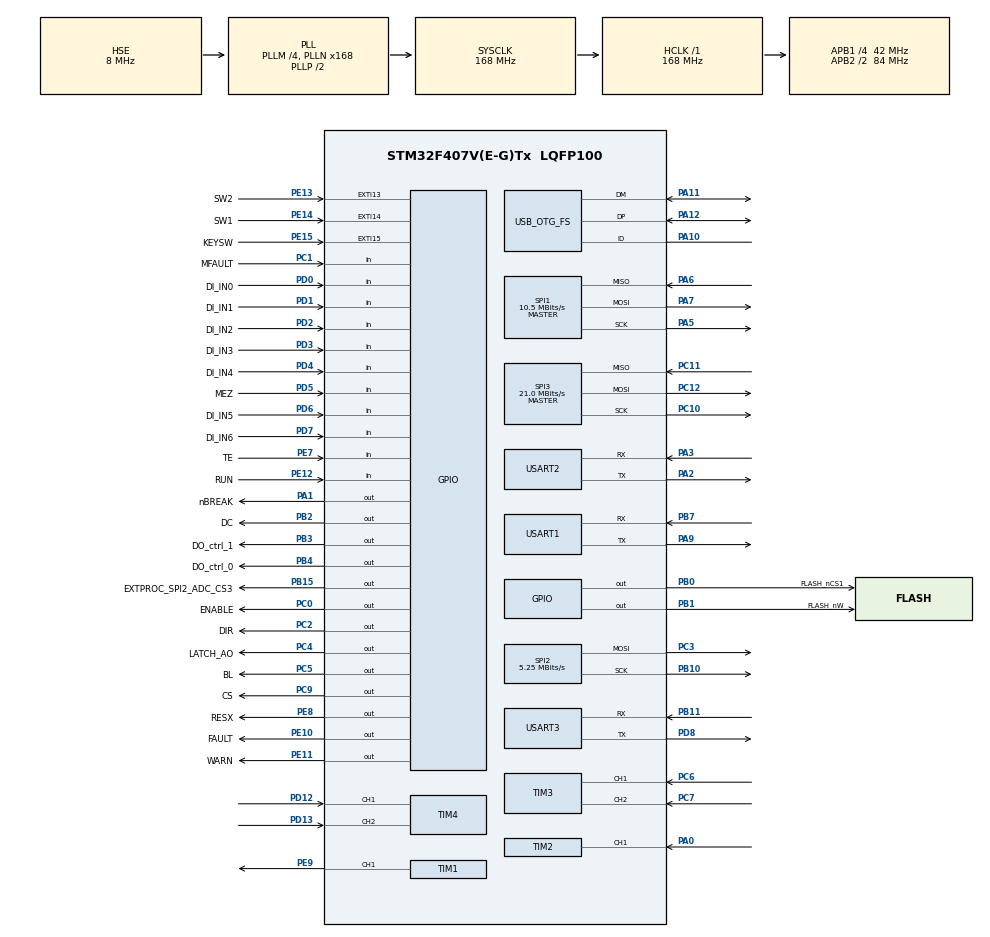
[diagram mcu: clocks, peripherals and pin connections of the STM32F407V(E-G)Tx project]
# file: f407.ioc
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Dma.Request0=SPI1_RX
Dma.Request1=USART1_RX
Dma.SPI1_RX.0.Direction=DMA_PERIPH_TO_MEMORY
Dma.SPI1_RX.0.FIFOMode=DMA_FIFOMODE_DISABLE
Dma.SPI1_RX.0.Instance=DMA2_Stream0
Dma.SPI1_RX.0.MemDataAlignment=DMA_MDATAALIGN_BYTE
Dma.SPI1_RX.0.MemInc=DMA_MINC_ENABLE
Dma.SPI1_RX.0.Mode=DMA_NORMAL
Dma.SPI1_RX.0.PeriphDataAlignment=DMA_PDATAALIGN_BYTE
Dma.SPI1_RX.0.PeriphInc=DMA_PINC_DISABLE
Dma.SPI1_RX.0.Priority=DMA_PRIORITY_LOW
Dma.USART1_RX.1.Direction=DMA_PERIPH_TO_MEMORY
Dma.USART1_RX.1.FIFOMode=DMA_FIFOMODE_DISABLE
Dma.USART1_RX.1.Instance=DMA2_Stream2
Dma.USART1_RX.1.MemDataAlignment=DMA_MDATAALIGN_BYTE
Dma.USART1_RX.1.MemInc=DMA_MINC_ENABLE
Dma.USART1_RX.1.Mode=DMA_NORMAL
Dma.USART1_RX.1.PeriphDataAlignment=DMA_PDATAALIGN_BYTE
Dma.USART1_RX.1.PeriphInc=DMA_PINC_DISABLE
Dma.USART1_RX.1.Priority=DMA_PRIORITY_LOW
Mcu.Family=STM32F4
Mcu.Name=STM32F407V(E-G)Tx
Mcu.Package=LQFP100
NVIC.DMA2_Stream0_IRQn=true\:0\:0\:false\:false\:true\:false\:true\:true
NVIC.DMA2_Stream2_IRQn=true\:0\:0\:false\:false\:true\:false\:true\:true
NVIC.EXTI15_10_IRQn=true\:0\:0\:false\:false\:true\:true\:true\:true
NVIC.PriorityGroup=NVIC_PRIORITYGROUP_4
NVIC.TIM3_IRQn=true\:0\:0\:false\:false\:true\:true\:true\:true
NVIC.TIM4_IRQn=true\:0\:0\:false\:false\:true\:true\:true\:true
NVIC.USART1_IRQn=true\:0\:0\:false\:false\:true\:true\:true\:true
PA0-WKUP.Signal=S_TIM2_CH1_ETR
PA1.GPIO_Label=nBREAK
PA1.Signal=GPIO_Output
PA10.Mode=OTG/Dual_Role_Device
PA10.Signal=USB_OTG_FS_ID
PA11.Mode=OTG/Dual_Role_Device
PA11.Signal=USB_OTG_FS_DM
PA12.Mode=OTG/Dual_Role_Device
PA12.Signal=USB_OTG_FS_DP
PA13.Mode=Serial_Wire
PA13.Signal=SYS_JTMS-SWDIO
PA14.Mode=Serial_Wire
PA14.Signal=SYS_JTCK-SWCLK
PA2.Mode=Asynchronous
PA2.Signal=USART2_TX
PA3.Mode=Asynchronous
PA3.Signal=USART2_RX
PA5.Mode=Full_Duplex_Master
PA5.Signal=SPI1_SCK
PA6.Mode=Full_Duplex_Master
PA6.Signal=SPI1_MISO
PA7.Mode=Full_Duplex_Master
PA7.Signal=SPI1_MOSI
PA9.Mode=Asynchronous
PA9.Signal=USART1_TX
PB0.GPIO_Label=FLASH_nCS1
PB0.PinState=GPIO_PIN_SET
PB0.Signal=GPIO_Output
PB1.GPIO_Label=FLASH_nW
PB1.PinState=GPIO_PIN_SET
PB1.Signal=GPIO_Output
PB10.Mode=TX_Only_Simplex_Unidirect_Master
PB10.Signal=SPI2_SCK
PB11.Mode=Asynchronous
PB11.Signal=USART3_RX
PB15.GPIO_Label=EXTPROC_SPI2_ADC_CS3
PB15.PinState=GPIO_PIN_SET
PB15.Signal=GPIO_Output
PB2.GPIO_Label=DC
PB2.Signal=GPIO_Output
PB3.GPIO_Label=DO_ctrl_1
PB3.PinState=GPIO_PIN_SET
PB3.Signal=GPIO_Output
PB4.GPIO_Label=DO_ctrl_0
PB4.PinState=GPIO_PIN_SET
PB4.Signal=GPIO_Output
PB7.Mode=Asynchronous
PB7.Signal=USART1_RX
PC0.GPIO_Label=ENABLE
PC0.Signal=GPIO_Output
PC1.GPIO_Label=MFAULT
PC1.Signal=GPIO_Input
PC10.Mode=Full_Duplex_Master
PC10.Signal=SPI3_SCK
PC11.Mode=Full_Duplex_Master
PC11.Signal=SPI3_MISO
PC12.Mode=Full_Duplex_Master
PC12.Signal=SPI3_MOSI
PC14-OSC32_IN.Mode=LSE-External-Oscillator
PC14-OSC32_IN.Signal=RCC_OSC32_IN
PC15-OSC32_OUT.Mode=LSE-External-Oscillator
PC15-OSC32_OUT.Signal=RCC_OSC32_OUT
PC2.GPIO_Label=DIR
PC2.Signal=GPIO_Output
PC3.Mode=TX_Only_Simplex_Unidirect_Master
PC3.Signal=SPI2_MOSI
PC4.GPIO_Label=LATCH_AO
PC4.Signal=GPIO_Output
PC5.GPIO_Label=BL
PC5.Signal=GPIO_Output
PC6.Signal=S_TIM3_CH1
PC7.Signal=S_TIM3_CH2
PC9.GPIO_Label=CS
PC9.GPIO_Speed=GPIO_SPEED_FREQ_HIGH
PC9.PinState=GPIO_PIN_SET
PC9.Signal=GPIO_Output
PD0.GPIO_Label=DI_IN0
PD0.Signal=GPIO_Input
PD1.GPIO_Label=DI_IN1
PD1.Signal=GPIO_Input
PD12.Signal=S_TIM4_CH1
PD13.Signal=S_TIM4_CH2
PD2.GPIO_Label=DI_IN2
PD2.Signal=GPIO_Input
PD3.GPIO_Label=DI_IN3
PD3.Signal=GPIO_Input
PD4.GPIO_Label=DI_IN4
PD4.Signal=GPIO_Input
PD5.GPIO_Label=MEZ
PD5.Signal=GPIO_Input
PD6.GPIO_Label=DI_IN5
PD6.Signal=GPIO_Input
PD7.GPIO_Label=DI_IN6
PD7.Signal=GPIO_Input
PD8.Mode=Asynchronous
PD8.Signal=USART3_TX
PE10.GPIO_Label=FAULT
PE10.Signal=GPIO_Output
PE11.GPIO_Label=WARN
PE11.Signal=GPIO_Output
PE12.GPIO_Label=RUN
PE12.Signal=GPIO_Input
PE13.GPIO_Label=SW2
PE13.GPIO_ModeDefaultEXTI=GPIO_MODE_IT_FALLING
PE13.Signal=GPXTI13
PE14.GPIO_Label=SW1
PE14.GPIO_ModeDefaultEXTI=GPIO_MODE_IT_FALLING
PE14.Signal=GPXTI14
PE15.GPIO_Label=KEYSW
PE15.GPIO_ModeDefaultEXTI=GPIO_MODE_IT_FALLING
PE15.Signal=GPXTI15
PE7.GPIO_Label=TE
PE7.Signal=GPIO_Input
PE8.GPIO_Label=RESX
PE8.Signal=GPIO_Output
PE9.Signal=S_TIM1_CH1
PH0-OSC_IN.Mode=HSE-External-Oscillator
PH0-OSC_IN.Signal=RCC_OSC_IN
PH1-OSC_OUT.Mode=HSE-External-Oscillator
PH1-OSC_OUT.Signal=RCC_OSC_OUT
ProjectManager.HeapSize=0x200
ProjectManager.StackSize=0x400
ProjectManager.TargetToolchain=MDK-ARM V5.32
RCC.48MHZClocksFreq_Value=48000000
RCC.AHBFreq_Value=168000000
RCC.APB1CLKDivider=RCC_HCLK_DIV4
RCC.APB1Freq_Value=42000000
RCC.APB1TimFreq_Value=84000000
RCC.APB2CLKDivider=RCC_HCLK_DIV2
RCC.APB2Freq_Value=84000000
RCC.APB2TimFreq_Value=168000000
RCC.CortexFreq_Value=168000000
RCC.HCLKFreq_Value=168000000
RCC.HSE_VALUE=8000000
RCC.HSI_VALUE=16000000
RCC.PLLM=4
RCC.PLLN=168
RCC.PLLQ=7
RCC.RCC_RTC_Clock_Source=RCC_RTCCLKSOURCE_LSE
RCC.SYSCLKFreq_VALUE=168000000
RCC.SYSCLKSource=RCC_SYSCLKSOURCE_PLLCLK
RCC.VCOOutputFreq_Value=336000000
SH.S_TIM1_CH1.0=TIM1_CH1,PWM Generation1 CH1
SH.S_TIM2_CH1_ETR.0=TIM2_CH1,Input_Capture1_from_TI1
SH.S_TIM3_CH1.0=TIM3_CH1,Encoder_Interface
SH.S_TIM3_CH2.0=TIM3_CH2,Encoder_Interface
SH.S_TIM4_CH1.0=TIM4_CH1,Encoder_Interface
SH.S_TIM4_CH2.0=TIM4_CH2,Encoder_Interface
SPI1.BaudRatePrescaler=SPI_BAUDRATEPRESCALER_8
SPI1.CLKPhase=SPI_PHASE_1EDGE
SPI1.CalculateBaudRate=10.5 MBits/s
SPI1.Direction=SPI_DIRECTION_2LINES
SPI1.Mode=SPI_MODE_MASTER
SPI1.VirtualType=VM_MASTER
SPI2.BaudRatePrescaler=SPI_BAUDRATEPRESCALER_8
SPI2.CalculateBaudRate=5.25 MBits/s
SPI2.Direction=SPI_DIRECTION_2LINES
SPI2.Mode=SPI_MODE_MASTER
SPI2.VirtualType=VM_MASTER
SPI3.BaudRatePrescaler=SPI_BAUDRATEPRESCALER_2
SPI3.CLKPhase=SPI_PHASE_2EDGE
SPI3.CLKPolarity=SPI_POLARITY_HIGH
SPI3.CalculateBaudRate=21.0 MBits/s
SPI3.Direction=SPI_DIRECTION_2LINES
SPI3.Mode=SPI_MODE_MASTER
SPI3.VirtualType=VM_MASTER
TIM1.Channel-PWM\ Generation1\ CH1=TIM_CHANNEL_1
TIM1.Period=65535
TIM1.Prescaler=TIM1PS
TIM2.Channel-Input_Capture1_from_TI1=TIM_CHANNEL_1
TIM2.ICFilter_CH1=15
TIM3.EncoderMode=TIM_ENCODERMODE_TI12
TIM3.IC1Filter=4
TIM3.IC2Filter=4
TIM4.EncoderMode=TIM_ENCODERMODE_TI12
TIM4.IC1Filter=4
USART1.VirtualMode=VM_ASYNC
USART2.VirtualMode=VM_ASYNC
USART3.VirtualMode=VM_ASYNC
VP_RTC_VS_RTC_Activate.Mode=RTC_Enabled
VP_TIM1_VS_ClockSourceINT.Mode=Internal
VP_TIM2_VS_ClockSourceINT.Mode=Internal
board=custom

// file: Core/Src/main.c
/* USER CODE BEGIN Header */
/**
  ******************************************************************************
  * @file           : main.c
  * @brief          : Main program body
  ******************************************************************************
  * @attention
  *
  * Copyright (c) 2026 STMicroelectronics.
  * All rights reserved.
  *
  * This software is licensed under terms that can be found in the LICENSE file
  * in the root directory of this software component.
  * If no LICENSE file comes with this software, it is provided AS-IS.
  *
  ******************************************************************************
  */
/* USER CODE END Header */
#include "main.h"

/* USER CODE BEGIN Includes */
#include "bsp_encoder.h"
#include "app.h"
#include "key.h"
/* USER CODE END Includes */

RTC_HandleTypeDef hrtc;

SPI_HandleTypeDef hspi1;
SPI_HandleTypeDef hspi2;
SPI_HandleTypeDef hspi3;
DMA_HandleTypeDef hdma_spi1_rx;

TIM_HandleTypeDef htim1;
TIM_HandleTypeDef htim2;
TIM_HandleTypeDef htim3;
TIM_HandleTypeDef htim4;

UART_HandleTypeDef huart1;
UART_HandleTypeDef huart2;
UART_HandleTypeDef huart3;
DMA_HandleTypeDef hdma_usart1_rx;

void SystemClock_Config(void);
static void MX_GPIO_Init(void);
static void MX_DMA_Init(void);
static void MX_RTC_Init(void);
static void MX_SPI1_Init(void);
static void MX_SPI2_Init(void);
static void MX_SPI3_Init(void);
static void MX_TIM1_Init(void);
static void MX_TIM2_Init(void);
static void MX_TIM3_Init(void);
static void MX_TIM4_Init(void);
static void MX_USART1_UART_Init(void);
static void MX_USART2_UART_Init(void);
static void MX_USART3_UART_Init(void);
static void MX_USB_OTG_FS_USB_Init(void);

/* USER CODE BEGIN 0 */
void HAL_TIM_PeriodElapsedCallback(TIM_HandleTypeDef *htim)
{

    if (htim->Instance == TIM4)
    {

        encoder_over_flow();
    }
    if (htim->Instance == TIM2)
    {
      get_encoder()->pulseOverRun = 1;

    }
}
 uint32_t last_interrupt_time = 0;
 uint32_t debounce_delay_ms = 200;   // 消抖时间，根据按键调整
void HAL_GPIO_EXTI_Callback(uint16_t GPIO_Pin)
{

   static uint32_t current_time;
	current_time = HAL_GetTick();

    // 如果距离上次中断时间小于消抖时间，认为是抖动，直接返回
    if ((current_time - last_interrupt_time) < debounce_delay_ms)
    {
        return;
    }

    // 更新最后有效中断的时间
    last_interrupt_time = current_time;

    if (GPIO_Pin == KEYSW_Pin)
    {
        if (HAL_GPIO_ReadPin(KEYSW_GPIO_Port, KEYSW_Pin) == 0)
            get_button()->enter = 1;
    }
    if (GPIO_Pin == SW1_Pin)
    {
        if (HAL_GPIO_ReadPin(SW1_GPIO_Port, SW1_Pin) == 0)
			getEncoderKey(SW1_KEY_INDEX)->keyEnter = 1;

    }
    if (GPIO_Pin == SW2_Pin)
    {
        if (HAL_GPIO_ReadPin(SW2_GPIO_Port, SW2_Pin) == 0)
          getEncoderKey(SW2_KEY_INDEX)->keyEnter = 1;
    }

}

/* USER CODE END 0 */

int main(void)
{

  /* MCU Configuration--------------------------------------------------------*/

  /* Reset of all peripherals, Initializes the Flash interface and the Systick. */
  HAL_Init();

  /* Configure the system clock */
  SystemClock_Config();

  /* USER CODE BEGIN SysInit */
 __HAL_RCC_PWR_CLK_ENABLE();
HAL_PWR_EnableBkUpAccess();

  /* USER CODE END SysInit */

  /* Initialize all configured peripherals */
  MX_GPIO_Init();
  MX_DMA_Init();
  MX_RTC_Init();
  MX_SPI1_Init();
  MX_SPI2_Init();
  MX_SPI3_Init();
  MX_TIM1_Init();
  MX_TIM2_Init();
  MX_TIM3_Init();
  MX_TIM4_Init();
  MX_USART1_UART_Init();
  MX_USART2_UART_Init();
  MX_USART3_UART_Init();
  MX_USB_OTG_FS_USB_Init();
  /* USER CODE BEGIN 2 */
    init();
  /* USER CODE END 2 */

  /* Infinite loop */
    while (1)
    {

    /* USER CODE BEGIN 3 */
        app();
    }
  /* USER CODE END 3 */
}

void SystemClock_Config(void)
{
  RCC_OscInitTypeDef RCC_OscInitStruct = {0};
  RCC_ClkInitTypeDef RCC_ClkInitStruct = {0};

  /** Configure the main internal regulator output voltage
  */
  __HAL_RCC_PWR_CLK_ENABLE();
  __HAL_PWR_VOLTAGESCALING_CONFIG(PWR_REGULATOR_VOLTAGE_SCALE1);

  /** Initializes the RCC Oscillators according to the specified parameters
  * in the RCC_OscInitTypeDef structure.
  */
  RCC_OscInitStruct.OscillatorType = RCC_OSCILLATORTYPE_HSE|RCC_OSCILLATORTYPE_LSE;
  RCC_OscInitStruct.HSEState = RCC_HSE_ON;
  RCC_OscInitStruct.LSEState = RCC_LSE_ON;
  RCC_OscInitStruct.PLL.PLLState = RCC_PLL_ON;
  RCC_OscInitStruct.PLL.PLLSource = RCC_PLLSOURCE_HSE;
  RCC_OscInitStruct.PLL.PLLM = 4;
  RCC_OscInitStruct.PLL.PLLN = 168;
  RCC_OscInitStruct.PLL.PLLP = RCC_PLLP_DIV2;
  RCC_OscInitStruct.PLL.PLLQ = 7;
  if (HAL_RCC_OscConfig(&RCC_OscInitStruct) != HAL_OK)
  {
    Error_Handler();
  }

  /** Initializes the CPU, AHB and APB buses clocks
  */
  RCC_ClkInitStruct.ClockType = RCC_CLOCKTYPE_HCLK|RCC_CLOCKTYPE_SYSCLK
                              |RCC_CLOCKTYPE_PCLK1|RCC_CLOCKTYPE_PCLK2;
  RCC_ClkInitStruct.SYSCLKSource = RCC_SYSCLKSOURCE_PLLCLK;
  RCC_ClkInitStruct.AHBCLKDivider = RCC_SYSCLK_DIV1;
  RCC_ClkInitStruct.APB1CLKDivider = RCC_HCLK_DIV4;
  RCC_ClkInitStruct.APB2CLKDivider = RCC_HCLK_DIV2;

  if (HAL_RCC_ClockConfig(&RCC_ClkInitStruct, FLASH_LATENCY_5) != HAL_OK)
  {
    Error_Handler();
  }
}

static void MX_RTC_Init(void)
{

  /* USER CODE BEGIN RTC_Init 0 */
    RTC_TimeTypeDef sTime = {0};
    RTC_DateTypeDef sDate = {0};
  /* USER CODE END RTC_Init 0 */

  /** Initialize RTC Only
  */
  hrtc.Instance = RTC;
  hrtc.Init.HourFormat = RTC_HOURFORMAT_24;
  hrtc.Init.AsynchPrediv = 127;
  hrtc.Init.SynchPrediv = 255;
  hrtc.Init.OutPut = RTC_OUTPUT_DISABLE;
  hrtc.Init.OutPutPolarity = RTC_OUTPUT_POLARITY_HIGH;
  hrtc.Init.OutPutType = RTC_OUTPUT_TYPE_OPENDRAIN;
  if (HAL_RTC_Init(&hrtc) != HAL_OK)
  {
    Error_Handler();
  }
  /* USER CODE BEGIN RTC_Init 2 */
	uint16_t tmp;
	   tmp = HAL_RTCEx_BKUPRead(&hrtc, RTC_BKP_DR0);
    if ( tmp!=0x5Aa5) 			/* ??��?2?��|?��o???��?D???��?��?1y?��??????RTC?��o??����?��o??����|��??|��??2??a?��o?��?RTC?��o?����??��? */
    {
        /* USER CODE END Check_RTC_BKUP */

        /** Initialize RTC and set the Time and Date
        */
        sTime.Hours = 0x14;
        sTime.Minutes = 0x39;
        sTime.Seconds = 0x0;
        sTime.SubSeconds = 0x0;
        sTime.DayLightSaving = RTC_DAYLIGHTSAVING_NONE;
        sTime.StoreOperation = RTC_STOREOPERATION_RESET;
        if (HAL_RTC_SetTime(&hrtc, &sTime, RTC_FORMAT_BCD) != HAL_OK)
        {
            Error_Handler();
        }
        sDate.WeekDay = RTC_WEEKDAY_SATURDAY;
        sDate.Month = RTC_MONTH_JUNE;
        sDate.Date = 0x11;
        sDate.Year = 0x26;
        if (HAL_RTC_SetDate(&hrtc, &sDate, RTC_FORMAT_BCD) != HAL_OK)
        {
            Error_Handler();
        }

        /** Enable the Alarm A
        */
        //	sAlarm.AlarmTime.Hours = 0x14;
        //	sAlarm.AlarmTime.Minutes = 0x30;
        //	sAlarm.AlarmTime.Seconds = 0x20;
        //	sAlarm.AlarmTime.SubSeconds = 0x0;
        //	sAlarm.AlarmMask = RTC_ALARMMASK_NONE;
        //	sAlarm.AlarmSubSecondMask = RTC_ALARMSUBSECONDMASK_SS14_9;
        //	sAlarm.AlarmDateWeekDaySel = RTC_ALARMDATEWEEKDAYSEL_DATE;
        //	sAlarm.AlarmDateWeekDay = 0x1;
        //	sAlarm.Alarm = RTC_ALARM_A;
        //	if (HAL_RTC_SetAlarm_IT(&hrtc, &sAlarm, RTC_FORMAT_BIN) != HAL_OK)
        //	{
        //	  Error_Handler();
        //	}
        /* USER CODE BEGIN RTC_Init 2 */
        HAL_RTCEx_BKUPWrite(&hrtc, RTC_BKP_DR0,
                            0x5aa5);  //?a?��?��???��a?��o????a??????????|��???����?��o???��|?��?��?a??2?|��???????|��??��o??????|��??|��??o?��???��a2???��?��???��?��?|��???a?��?��??��?��??
    }
  /* USER CODE END RTC_Init 2 */

}

static void MX_SPI1_Init(void)
{

  /* SPI1 parameter configuration*/
  hspi1.Instance = SPI1;
  hspi1.Init.Mode = SPI_MODE_MASTER;
  hspi1.Init.Direction = SPI_DIRECTION_2LINES;
  hspi1.Init.DataSize = SPI_DATASIZE_8BIT;
  hspi1.Init.CLKPolarity = SPI_POLARITY_LOW;
  hspi1.Init.CLKPhase = SPI_PHASE_1EDGE;
  hspi1.Init.NSS = SPI_NSS_SOFT;
  hspi1.Init.BaudRatePrescaler = SPI_BAUDRATEPRESCALER_8;
  hspi1.Init.FirstBit = SPI_FIRSTBIT_MSB;
  hspi1.Init.TIMode = SPI_TIMODE_DISABLE;
  hspi1.Init.CRCCalculation = SPI_CRCCALCULATION_DISABLE;
  hspi1.Init.CRCPolynomial = 10;
  if (HAL_SPI_Init(&hspi1) != HAL_OK)
  {
    Error_Handler();
  }

}

static void MX_SPI2_Init(void)
{

  /* SPI2 parameter configuration*/
  hspi2.Instance = SPI2;
  hspi2.Init.Mode = SPI_MODE_MASTER;
  hspi2.Init.Direction = SPI_DIRECTION_2LINES;
  hspi2.Init.DataSize = SPI_DATASIZE_8BIT;
  hspi2.Init.CLKPolarity = SPI_POLARITY_LOW;
  hspi2.Init.CLKPhase = SPI_PHASE_1EDGE;
  hspi2.Init.NSS = SPI_NSS_SOFT;
  hspi2.Init.BaudRatePrescaler = SPI_BAUDRATEPRESCALER_8;
  hspi2.Init.FirstBit = SPI_FIRSTBIT_MSB;
  hspi2.Init.TIMode = SPI_TIMODE_DISABLE;
  hspi2.Init.CRCCalculation = SPI_CRCCALCULATION_DISABLE;
  hspi2.Init.CRCPolynomial = 10;
  if (HAL_SPI_Init(&hspi2) != HAL_OK)
  {
    Error_Handler();
  }

}

static void MX_SPI3_Init(void)
{

  /* SPI3 parameter configuration*/
  hspi3.Instance = SPI3;
  hspi3.Init.Mode = SPI_MODE_MASTER;
  hspi3.Init.Direction = SPI_DIRECTION_2LINES;
  hspi3.Init.DataSize = SPI_DATASIZE_8BIT;
  hspi3.Init.CLKPolarity = SPI_POLARITY_HIGH;
  hspi3.Init.CLKPhase = SPI_PHASE_2EDGE;
  hspi3.Init.NSS = SPI_NSS_SOFT;
  hspi3.Init.BaudRatePrescaler = SPI_BAUDRATEPRESCALER_4;
  hspi3.Init.FirstBit = SPI_FIRSTBIT_MSB;
  hspi3.Init.TIMode = SPI_TIMODE_DISABLE;
  hspi3.Init.CRCCalculation = SPI_CRCCALCULATION_DISABLE;
  hspi3.Init.CRCPolynomial = 10;
  if (HAL_SPI_Init(&hspi3) != HAL_OK)
  {
    Error_Handler();
  }

}

static void MX_TIM1_Init(void)
{

  TIM_ClockConfigTypeDef sClockSourceConfig = {0};
  TIM_MasterConfigTypeDef sMasterConfig = {0};
  TIM_OC_InitTypeDef sConfigOC = {0};
  TIM_BreakDeadTimeConfigTypeDef sBreakDeadTimeConfig = {0};

  htim1.Instance = TIM1;
  htim1.Init.Prescaler = TIM1PS;
  htim1.Init.CounterMode = TIM_COUNTERMODE_UP;
  htim1.Init.Period = 65535;
  htim1.Init.ClockDivision = TIM_CLOCKDIVISION_DIV1;
  htim1.Init.RepetitionCounter = 0;
  htim1.Init.AutoReloadPreload = TIM_AUTORELOAD_PRELOAD_DISABLE;
  if (HAL_TIM_Base_Init(&htim1) != HAL_OK)
  {
    Error_Handler();
  }
  sClockSourceConfig.ClockSource = TIM_CLOCKSOURCE_INTERNAL;
  if (HAL_TIM_ConfigClockSource(&htim1, &sClockSourceConfig) != HAL_OK)
  {
    Error_Handler();
  }
  if (HAL_TIM_PWM_Init(&htim1) != HAL_OK)
  {
    Error_Handler();
  }
  sMasterConfig.MasterOutputTrigger = TIM_TRGO_RESET;
  sMasterConfig.MasterSlaveMode = TIM_MASTERSLAVEMODE_DISABLE;
  if (HAL_TIMEx_MasterConfigSynchronization(&htim1, &sMasterConfig) != HAL_OK)
  {
    Error_Handler();
  }
  sConfigOC.OCMode = TIM_OCMODE_PWM1;
  sConfigOC.Pulse = 0;
  sConfigOC.OCPolarity = TIM_OCPOLARITY_HIGH;
  sConfigOC.OCNPolarity = TIM_OCNPOLARITY_HIGH;
  sConfigOC.OCFastMode = TIM_OCFAST_DISABLE;
  sConfigOC.OCIdleState = TIM_OCIDLESTATE_RESET;
  sConfigOC.OCNIdleState = TIM_OCNIDLESTATE_RESET;
  if (HAL_TIM_PWM_ConfigChannel(&htim1, &sConfigOC, TIM_CHANNEL_1) != HAL_OK)
  {
    Error_Handler();
  }
  sBreakDeadTimeConfig.OffStateRunMode = TIM_OSSR_DISABLE;
  sBreakDeadTimeConfig.OffStateIDLEMode = TIM_OSSI_DISABLE;
  sBreakDeadTimeConfig.LockLevel = TIM_LOCKLEVEL_OFF;
  sBreakDeadTimeConfig.DeadTime = 0;
  sBreakDeadTimeConfig.BreakState = TIM_BREAK_DISABLE;
  sBreakDeadTimeConfig.BreakPolarity = TIM_BREAKPOLARITY_HIGH;
  sBreakDeadTimeConfig.AutomaticOutput = TIM_AUTOMATICOUTPUT_DISABLE;
  if (HAL_TIMEx_ConfigBreakDeadTime(&htim1, &sBreakDeadTimeConfig) != HAL_OK)
  {
    Error_Handler();
  }
  HAL_TIM_MspPostInit(&htim1);

}

static void MX_TIM2_Init(void)
{

  TIM_ClockConfigTypeDef sClockSourceConfig = {0};
  TIM_MasterConfigTypeDef sMasterConfig = {0};
  TIM_IC_InitTypeDef sConfigIC = {0};

  htim2.Instance = TIM2;
  htim2.Init.Prescaler = 0;
  htim2.Init.CounterMode = TIM_COUNTERMODE_UP;
  htim2.Init.Period = 4294967295;
  htim2.Init.ClockDivision = TIM_CLOCKDIVISION_DIV1;
  htim2.Init.AutoReloadPreload = TIM_AUTORELOAD_PRELOAD_DISABLE;
  if (HAL_TIM_Base_Init(&htim2) != HAL_OK)
  {
    Error_Handler();
  }
  sClockSourceConfig.ClockSource = TIM_CLOCKSOURCE_INTERNAL;
  if (HAL_TIM_ConfigClockSource(&htim2, &sClockSourceConfig) != HAL_OK)
  {
    Error_Handler();
  }
  if (HAL_TIM_IC_Init(&htim2) != HAL_OK)
  {
    Error_Handler();
  }
  sMasterConfig.MasterOutputTrigger = TIM_TRGO_RESET;
  sMasterConfig.MasterSlaveMode = TIM_MASTERSLAVEMODE_DISABLE;
  if (HAL_TIMEx_MasterConfigSynchronization(&htim2, &sMasterConfig) != HAL_OK)
  {
    Error_Handler();
  }
  sConfigIC.ICPolarity = TIM_INPUTCHANNELPOLARITY_RISING;
  sConfigIC.ICSelection = TIM_ICSELECTION_DIRECTTI;
  sConfigIC.ICPrescaler = TIM_ICPSC_DIV1;
  sConfigIC.ICFilter = 15;
  if (HAL_TIM_IC_ConfigChannel(&htim2, &sConfigIC, TIM_CHANNEL_1) != HAL_OK)
  {
    Error_Handler();
  }

}

static void MX_TIM3_Init(void)
{

  TIM_Encoder_InitTypeDef sConfig = {0};
  TIM_MasterConfigTypeDef sMasterConfig = {0};

  htim3.Instance = TIM3;
  htim3.Init.Prescaler = 0;
  htim3.Init.CounterMode = TIM_COUNTERMODE_UP;
  htim3.Init.Period = 65535;
  htim3.Init.ClockDivision = TIM_CLOCKDIVISION_DIV1;
  htim3.Init.AutoReloadPreload = TIM_AUTORELOAD_PRELOAD_DISABLE;
  sConfig.EncoderMode = TIM_ENCODERMODE_TI12;
  sConfig.IC1Polarity = TIM_ICPOLARITY_RISING;
  sConfig.IC1Selection = TIM_ICSELECTION_DIRECTTI;
  sConfig.IC1Prescaler = TIM_ICPSC_DIV1;
  sConfig.IC1Filter = 4;
  sConfig.IC2Polarity = TIM_ICPOLARITY_RISING;
  sConfig.IC2Selection = TIM_ICSELECTION_DIRECTTI;
  sConfig.IC2Prescaler = TIM_ICPSC_DIV1;
  sConfig.IC2Filter = 4;
  if (HAL_TIM_Encoder_Init(&htim3, &sConfig) != HAL_OK)
  {
    Error_Handler();
  }
  sMasterConfig.MasterOutputTrigger = TIM_TRGO_RESET;
  sMasterConfig.MasterSlaveMode = TIM_MASTERSLAVEMODE_DISABLE;
  if (HAL_TIMEx_MasterConfigSynchronization(&htim3, &sMasterConfig) != HAL_OK)
  {
    Error_Handler();
  }

}

static void MX_TIM4_Init(void)
{

  TIM_Encoder_InitTypeDef sConfig = {0};
  TIM_MasterConfigTypeDef sMasterConfig = {0};

  htim4.Instance = TIM4;
  htim4.Init.Prescaler = 0;
  htim4.Init.CounterMode = TIM_COUNTERMODE_UP;
  htim4.Init.Period = 65535;
  htim4.Init.ClockDivision = TIM_CLOCKDIVISION_DIV1;
  htim4.Init.AutoReloadPreload = TIM_AUTORELOAD_PRELOAD_DISABLE;
  sConfig.EncoderMode = TIM_ENCODERMODE_TI12;
  sConfig.IC1Polarity = TIM_ICPOLARITY_RISING;
  sConfig.IC1Selection = TIM_ICSELECTION_DIRECTTI;
  sConfig.IC1Prescaler = TIM_ICPSC_DIV1;
  sConfig.IC1Filter = 4;
  sConfig.IC2Polarity = TIM_ICPOLARITY_RISING;
  sConfig.IC2Selection = TIM_ICSELECTION_DIRECTTI;
  sConfig.IC2Prescaler = TIM_ICPSC_DIV1;
  sConfig.IC2Filter = 0;
  if (HAL_TIM_Encoder_Init(&htim4, &sConfig) != HAL_OK)
  {
    Error_Handler();
  }
  sMasterConfig.MasterOutputTrigger = TIM_TRGO_RESET;
  sMasterConfig.MasterSlaveMode = TIM_MASTERSLAVEMODE_DISABLE;
  if (HAL_TIMEx_MasterConfigSynchronization(&htim4, &sMasterConfig) != HAL_OK)
  {
    Error_Handler();
  }

}

static void MX_USART1_UART_Init(void)
{

  huart1.Instance = USART1;
  huart1.Init.BaudRate = 115200;
  huart1.Init.WordLength = UART_WORDLENGTH_8B;
  huart1.Init.StopBits = UART_STOPBITS_1;
  huart1.Init.Parity = UART_PARITY_NONE;
  huart1.Init.Mode = UART_MODE_TX_RX;
  huart1.Init.HwFlowCtl = UART_HWCONTROL_NONE;
  huart1.Init.OverSampling = UART_OVERSAMPLING_16;
  if (HAL_UART_Init(&huart1) != HAL_OK)
  {
    Error_Handler();
  }

}

static void MX_USART2_UART_Init(void)
{

  huart2.Instance = USART2;
  huart2.Init.BaudRate = 115200;
  huart2.Init.WordLength = UART_WORDLENGTH_8B;
  huart2.Init.StopBits = UART_STOPBITS_1;
  huart2.Init.Parity = UART_PARITY_NONE;
  huart2.Init.Mode = UART_MODE_TX_RX;
  huart2.Init.HwFlowCtl = UART_HWCONTROL_NONE;
  huart2.Init.OverSampling = UART_OVERSAMPLING_16;
  if (HAL_UART_Init(&huart2) != HAL_OK)
  {
    Error_Handler();
  }

}

static void MX_USART3_UART_Init(void)
{

  huart3.Instance = USART3;
  huart3.Init.BaudRate = 115200;
  huart3.Init.WordLength = UART_WORDLENGTH_8B;
  huart3.Init.StopBits = UART_STOPBITS_1;
  huart3.Init.Parity = UART_PARITY_NONE;
  huart3.Init.Mode = UART_MODE_TX_RX;
  huart3.Init.HwFlowCtl = UART_HWCONTROL_NONE;
  huart3.Init.OverSampling = UART_OVERSAMPLING_16;
  if (HAL_UART_Init(&huart3) != HAL_OK)
  {
    Error_Handler();
  }

}

static void MX_USB_OTG_FS_USB_Init(void)
{

}

static void MX_DMA_Init(void)
{

  /* DMA controller clock enable */
  __HAL_RCC_DMA2_CLK_ENABLE();

  /* DMA interrupt init */
  /* DMA2_Stream0_IRQn interrupt configuration */
  HAL_NVIC_SetPriority(DMA2_Stream0_IRQn, 0, 0);
  HAL_NVIC_EnableIRQ(DMA2_Stream0_IRQn);
  /* DMA2_Stream2_IRQn interrupt configuration */
  HAL_NVIC_SetPriority(DMA2_Stream2_IRQn, 0, 0);
  HAL_NVIC_EnableIRQ(DMA2_Stream2_IRQn);

}

static void MX_GPIO_Init(void)
{
  GPIO_InitTypeDef GPIO_InitStruct = {0};

  /* GPIO Ports Clock Enable */
  __HAL_RCC_GPIOC_CLK_ENABLE();
  __HAL_RCC_GPIOH_CLK_ENABLE();
  __HAL_RCC_GPIOA_CLK_ENABLE();
  __HAL_RCC_GPIOB_CLK_ENABLE();
  __HAL_RCC_GPIOE_CLK_ENABLE();
  __HAL_RCC_GPIOD_CLK_ENABLE();

  /*Configure GPIO pin Output Level */
  HAL_GPIO_WritePin(GPIOC, ENABLE_Pin|DIR_Pin|LATCH_AO_Pin|BL_Pin, GPIO_PIN_RESET);

  /*Configure GPIO pin Output Level */
  HAL_GPIO_WritePin(nBREAK_GPIO_Port, nBREAK_Pin, GPIO_PIN_RESET);

  /*Configure GPIO pin Output Level */
  HAL_GPIO_WritePin(GPIOB, FLASH_nCS1_Pin|FLASH_nW_Pin|EXTPROC_SPI2_ADC_CS3_Pin|DO_ctrl_1_Pin
                          |DO_ctrl_0_Pin, GPIO_PIN_SET);

  /*Configure GPIO pin Output Level */
  HAL_GPIO_WritePin(DC_GPIO_Port, DC_Pin, GPIO_PIN_RESET);

  /*Configure GPIO pin Output Level */
  HAL_GPIO_WritePin(GPIOE, RESX_Pin|FAULT_Pin|WARN_Pin, GPIO_PIN_RESET);

  /*Configure GPIO pin Output Level */
  HAL_GPIO_WritePin(CS_GPIO_Port, CS_Pin, GPIO_PIN_SET);

  /*Configure GPIO pins : ENABLE_Pin DIR_Pin LATCH_AO_Pin BL_Pin */
  GPIO_InitStruct.Pin = ENABLE_Pin|DIR_Pin|LATCH_AO_Pin|BL_Pin;
  GPIO_InitStruct.Mode = GPIO_MODE_OUTPUT_PP;
  GPIO_InitStruct.Pull = GPIO_NOPULL;
  GPIO_InitStruct.Speed = GPIO_SPEED_FREQ_LOW;
  HAL_GPIO_Init(GPIOC, &GPIO_InitStruct);

  /*Configure GPIO pin : MFAULT_Pin */
  GPIO_InitStruct.Pin = MFAULT_Pin;
  GPIO_InitStruct.Mode = GPIO_MODE_INPUT;
  GPIO_InitStruct.Pull = GPIO_NOPULL;
  HAL_GPIO_Init(MFAULT_GPIO_Port, &GPIO_InitStruct);

  /*Configure GPIO pin : nBREAK_Pin */
  GPIO_InitStruct.Pin = nBREAK_Pin;
  GPIO_InitStruct.Mode = GPIO_MODE_OUTPUT_PP;
  GPIO_InitStruct.Pull = GPIO_NOPULL;
  GPIO_InitStruct.Speed = GPIO_SPEED_FREQ_LOW;
  HAL_GPIO_Init(nBREAK_GPIO_Port, &GPIO_InitStruct);

  /*Configure GPIO pins : FLASH_nCS1_Pin FLASH_nW_Pin DC_Pin EXTPROC_SPI2_ADC_CS3_Pin
                           DO_ctrl_1_Pin DO_ctrl_0_Pin */
  GPIO_InitStruct.Pin = FLASH_nCS1_Pin|FLASH_nW_Pin|DC_Pin|EXTPROC_SPI2_ADC_CS3_Pin
                          |DO_ctrl_1_Pin|DO_ctrl_0_Pin;
  GPIO_InitStruct.Mode = GPIO_MODE_OUTPUT_PP;
  GPIO_InitStruct.Pull = GPIO_NOPULL;
  GPIO_InitStruct.Speed = GPIO_SPEED_FREQ_LOW;
  HAL_GPIO_Init(GPIOB, &GPIO_InitStruct);

  /*Configure GPIO pins : TE_Pin RUN_Pin */
  GPIO_InitStruct.Pin = TE_Pin|RUN_Pin;
  GPIO_InitStruct.Mode = GPIO_MODE_INPUT;
  GPIO_InitStruct.Pull = GPIO_NOPULL;
  HAL_GPIO_Init(GPIOE, &GPIO_InitStruct);

  /*Configure GPIO pins : RESX_Pin FAULT_Pin WARN_Pin */
  GPIO_InitStruct.Pin = RESX_Pin|FAULT_Pin|WARN_Pin;
  GPIO_InitStruct.Mode = GPIO_MODE_OUTPUT_PP;
  GPIO_InitStruct.Pull = GPIO_NOPULL;
  GPIO_InitStruct.Speed = GPIO_SPEED_FREQ_LOW;
  HAL_GPIO_Init(GPIOE, &GPIO_InitStruct);

  /*Configure GPIO pins : SW2_Pin SW1_Pin KEYSW_Pin */
  GPIO_InitStruct.Pin = SW2_Pin|SW1_Pin|KEYSW_Pin;
  GPIO_InitStruct.Mode = GPIO_MODE_IT_FALLING;
  GPIO_InitStruct.Pull = GPIO_NOPULL;
  HAL_GPIO_Init(GPIOE, &GPIO_InitStruct);

  /*Configure GPIO pin : CS_Pin */
  GPIO_InitStruct.Pin = CS_Pin;
  GPIO_InitStruct.Mode = GPIO_MODE_OUTPUT_PP;
  GPIO_InitStruct.Pull = GPIO_NOPULL;
  GPIO_InitStruct.Speed = GPIO_SPEED_FREQ_HIGH;
  HAL_GPIO_Init(CS_GPIO_Port, &GPIO_InitStruct);

  /*Configure GPIO pins : PA10 PA11 PA12 */
  GPIO_InitStruct.Pin = GPIO_PIN_10|GPIO_PIN_11|GPIO_PIN_12;
  GPIO_InitStruct.Mode = GPIO_MODE_AF_PP;
  GPIO_InitStruct.Pull = GPIO_NOPULL;
  GPIO_InitStruct.Speed = GPIO_SPEED_FREQ_VERY_HIGH;
  GPIO_InitStruct.Alternate = GPIO_AF10_OTG_FS;
  HAL_GPIO_Init(GPIOA, &GPIO_InitStruct);

  /*Configure GPIO pins : DI_IN0_Pin DI_IN1_Pin DI_IN2_Pin DI_IN3_Pin
                           DI_IN4_Pin MEZ_Pin DI_IN5_Pin DI_IN6_Pin */
  GPIO_InitStruct.Pin = DI_IN0_Pin|DI_IN1_Pin|DI_IN2_Pin|DI_IN3_Pin
                          |DI_IN4_Pin|MEZ_Pin|DI_IN5_Pin|DI_IN6_Pin;
  GPIO_InitStruct.Mode = GPIO_MODE_INPUT;
  GPIO_InitStruct.Pull = GPIO_NOPULL;
  HAL_GPIO_Init(GPIOD, &GPIO_InitStruct);

  /* EXTI interrupt init*/
  HAL_NVIC_SetPriority(EXTI15_10_IRQn, 0, 0);
  HAL_NVIC_EnableIRQ(EXTI15_10_IRQn);

}

void Error_Handler(void)
{
    __disable_irq();
    while (1)
    {
    }
}
